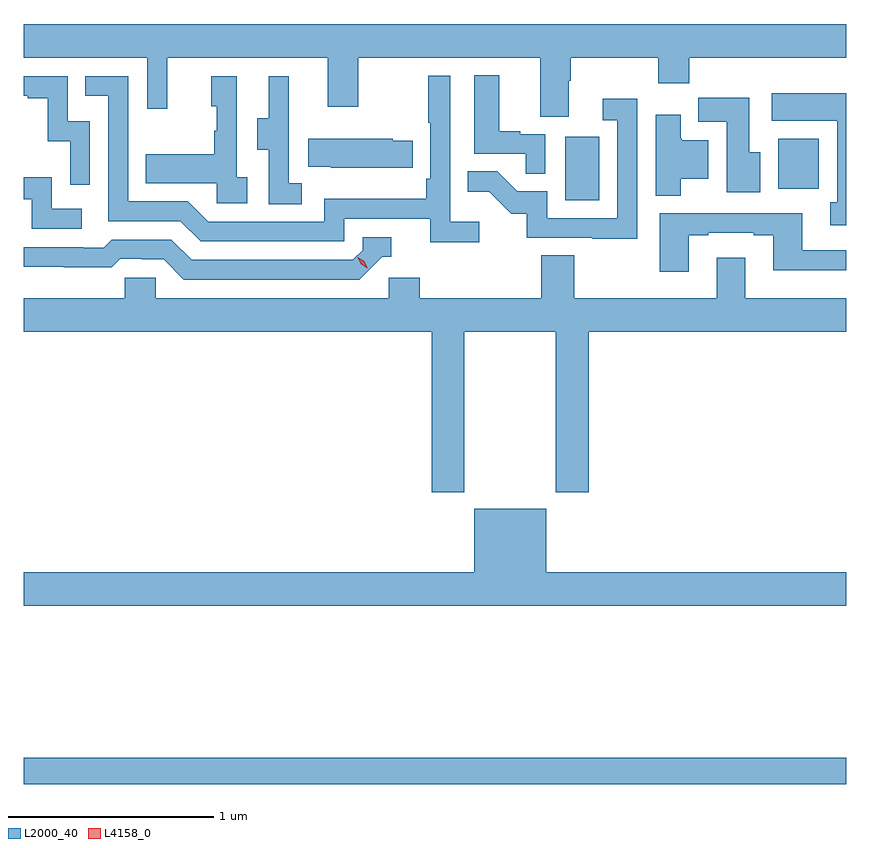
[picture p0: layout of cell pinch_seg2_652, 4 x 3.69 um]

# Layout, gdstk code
import gdstk
lib = gdstk.Library(unit=1e-6, precision=1e-09)
def R(c, l, rs):  # rectangles x0, y0, x1, y1
    for r in rs: c.add(gdstk.rectangle(r[:2], r[2:], *l))
def P(c, l, *ps):  # polygons
    for p in ps: c.add(gdstk.Polygon(p, *l))
L2000_40 = (2000, 40)
L4158_0 = (4158, 0)

pinch_seg2_652 = lib.new_cell('pinch_seg2_652')
R(pinch_seg2_652, L2000_40, [(1032.302,592.158,1036.302,592.286), (1034.936,594.996,1035.1,595.303), (1035.971,595.052,1036.168,595.294)])
P(pinch_seg2_652, L2000_40, [(1032.302,595.688),(1032.903,595.688),(1032.903,595.44),(1033.001,595.44),(1033.001,595.688),(1033.781,595.688),(1033.781,595.449),(1033.929,595.449),(1033.929,595.688),(1034.813,595.688),(1034.813,595.402),(1034.953,595.402),(1034.953,595.576),(1034.961,595.576),(1034.961,595.688),(1035.388,595.688),(1035.388,595.564),(1035.539,595.564),(1035.539,595.688),(1036.302,595.688),(1036.302,595.852),(1032.302,595.852)],
  [(1034.838,595.317),(1034.717,595.317),(1034.717,595.33),(1034.614,595.33),(1034.614,595.603),(1034.492,595.603),(1034.492,595.221),(1034.743,595.221),(1034.743,595.123),(1034.838,595.123)],
  [(1034.518,594.892),(1034.376,594.892),(1034.376,595.6),(1034.268,595.6),(1034.268,595.372),(1034.28,595.372),(1034.28,595.099),(1034.26,595.099),(1034.26,595.003),(1033.764,595.003),(1033.764,594.891),(1033.2,594.891),(1033.101,594.99),(1032.81,594.99),(1032.81,595.599),(1032.601,595.599),(1032.601,595.503),(1032.714,595.503),(1032.714,594.894),(1033.064,594.894),(1033.163,594.795),(1033.86,594.795),(1033.86,594.906),(1034.279,594.906),(1034.279,594.79),(1034.518,594.79)],
  [(1032.624,595.38),(1032.516,595.38),(1032.516,595.599),(1032.302,595.599),(1032.302,595.503),(1032.323,595.503),(1032.323,595.491),(1032.419,595.491),(1032.419,595.283),(1032.528,595.283),(1032.528,595.071),(1032.624,595.071)],
  [(1033.654,595.079),(1033.59,595.079),(1033.59,595.383),(1033.592,595.383),(1033.592,595.597),(1033.493,595.597),(1033.493,595.395),(1033.439,595.395),(1033.439,595.24),(1033.494,595.24),(1033.494,594.976),(1033.654,594.976)],
  [(1033.39,595.106),(1033.338,595.106),(1033.338,595.597),(1033.214,595.597),(1033.214,595.452),(1033.24,595.452),(1033.24,595.334),(1033.23,595.334),(1033.23,595.219),(1032.895,595.219),(1032.895,595.079),(1033.242,595.079),(1033.242,594.981),(1033.39,594.981)],
  [(1036.302,595.516),(1035.939,595.516),(1035.939,595.382),(1036.256,595.382),(1036.256,594.986),(1036.223,594.986),(1036.223,594.873),(1036.302,594.873)],
  [(1035.883,595.228),(1035.829,595.228),(1035.829,595.494),(1035.581,595.494),(1035.581,595.376),(1035.719,595.376),(1035.719,595.035),(1035.883,595.035)],
  [(1035.285,595.489),(1035.117,595.489),(1035.117,595.383),(1035.189,595.383),(1035.189,594.909),(1034.847,594.909),(1034.847,595.038),(1034.702,595.038),(1034.604,595.136),(1034.461,595.136),(1034.461,595.037),(1034.565,595.037),(1034.672,594.93),(1034.749,594.93),(1034.749,594.813),(1035.067,594.813),(1035.067,594.808),(1035.285,594.808)],
  [(1035.496,595.1),(1035.631,595.1),(1035.631,595.288),(1035.502,595.288),(1035.502,595.294),(1035.496,595.294),(1035.496,595.411),(1035.374,595.411),(1035.374,595.018),(1035.496,595.018)],
  [(1034.195,595.284),(1034.097,595.284),(1034.097,595.294),(1033.687,595.294),(1033.687,595.157),(1033.795,595.157),(1033.795,595.154),(1034.195,595.154)],
  [(1032.586,594.954),(1032.438,594.954),(1032.438,595.108),(1032.302,595.108),(1032.302,594.999),(1032.342,594.999),(1032.342,594.858),(1032.586,594.858)],
  [(1035.535,594.825),(1035.631,594.825),(1035.631,594.837),(1035.851,594.837),(1035.851,594.825),(1035.947,594.825),(1035.947,594.656),(1036.302,594.656),(1036.302,594.753),(1036.087,594.753),(1036.087,594.933),(1035.395,594.933),(1035.395,594.648),(1035.535,594.648)],
  [(1034.046,594.72),(1034.089,594.72),(1034.089,594.816),(1033.95,594.816),(1033.95,594.753),(1033.902,594.705),(1033.119,594.705),(1033.02,594.804),(1032.731,594.804),(1032.692,594.765),(1032.593,594.765),(1032.593,594.768),(1032.302,594.768),(1032.302,594.671),(1032.498,594.671),(1032.498,594.669),(1032.731,594.669),(1032.773,594.711),(1032.876,594.711),(1032.876,594.708),(1032.983,594.708),(1033.082,594.609),(1033.935,594.609)],
  [(1034.445,594.356),(1034.89,594.356),(1034.89,593.577),(1035.05,593.577),(1035.05,594.356),(1036.302,594.356),(1036.302,594.52),(1035.811,594.52),(1035.811,594.715),(1035.671,594.715),(1035.671,594.52),(1034.978,594.52),(1034.978,594.728),(1034.819,594.728),(1034.819,594.52),(1034.228,594.52),(1034.228,594.618),(1034.076,594.618),(1034.076,594.52),(1032.945,594.52),(1032.945,594.618),(1032.795,594.618),(1032.795,594.52),(1032.302,594.52),(1032.302,594.356),(1034.285,594.356),(1034.285,593.577),(1034.445,593.577)],
  [(1036.302,593.188),(1034.842,593.188),(1034.842,593.497),(1034.492,593.497),(1034.492,593.188),(1032.302,593.188),(1032.302,593.024),(1036.302,593.024)])
P(pinch_seg2_652, L4158_0, [(1033.972,594.666),(1033.942,594.686),(1033.926,594.719),(1033.926,594.719),(1033.927,594.719),(1033.957,594.699),(1033.973,594.667),(1033.973,594.666)])

lib.write_gds('pinch_seg2_652.gds')
